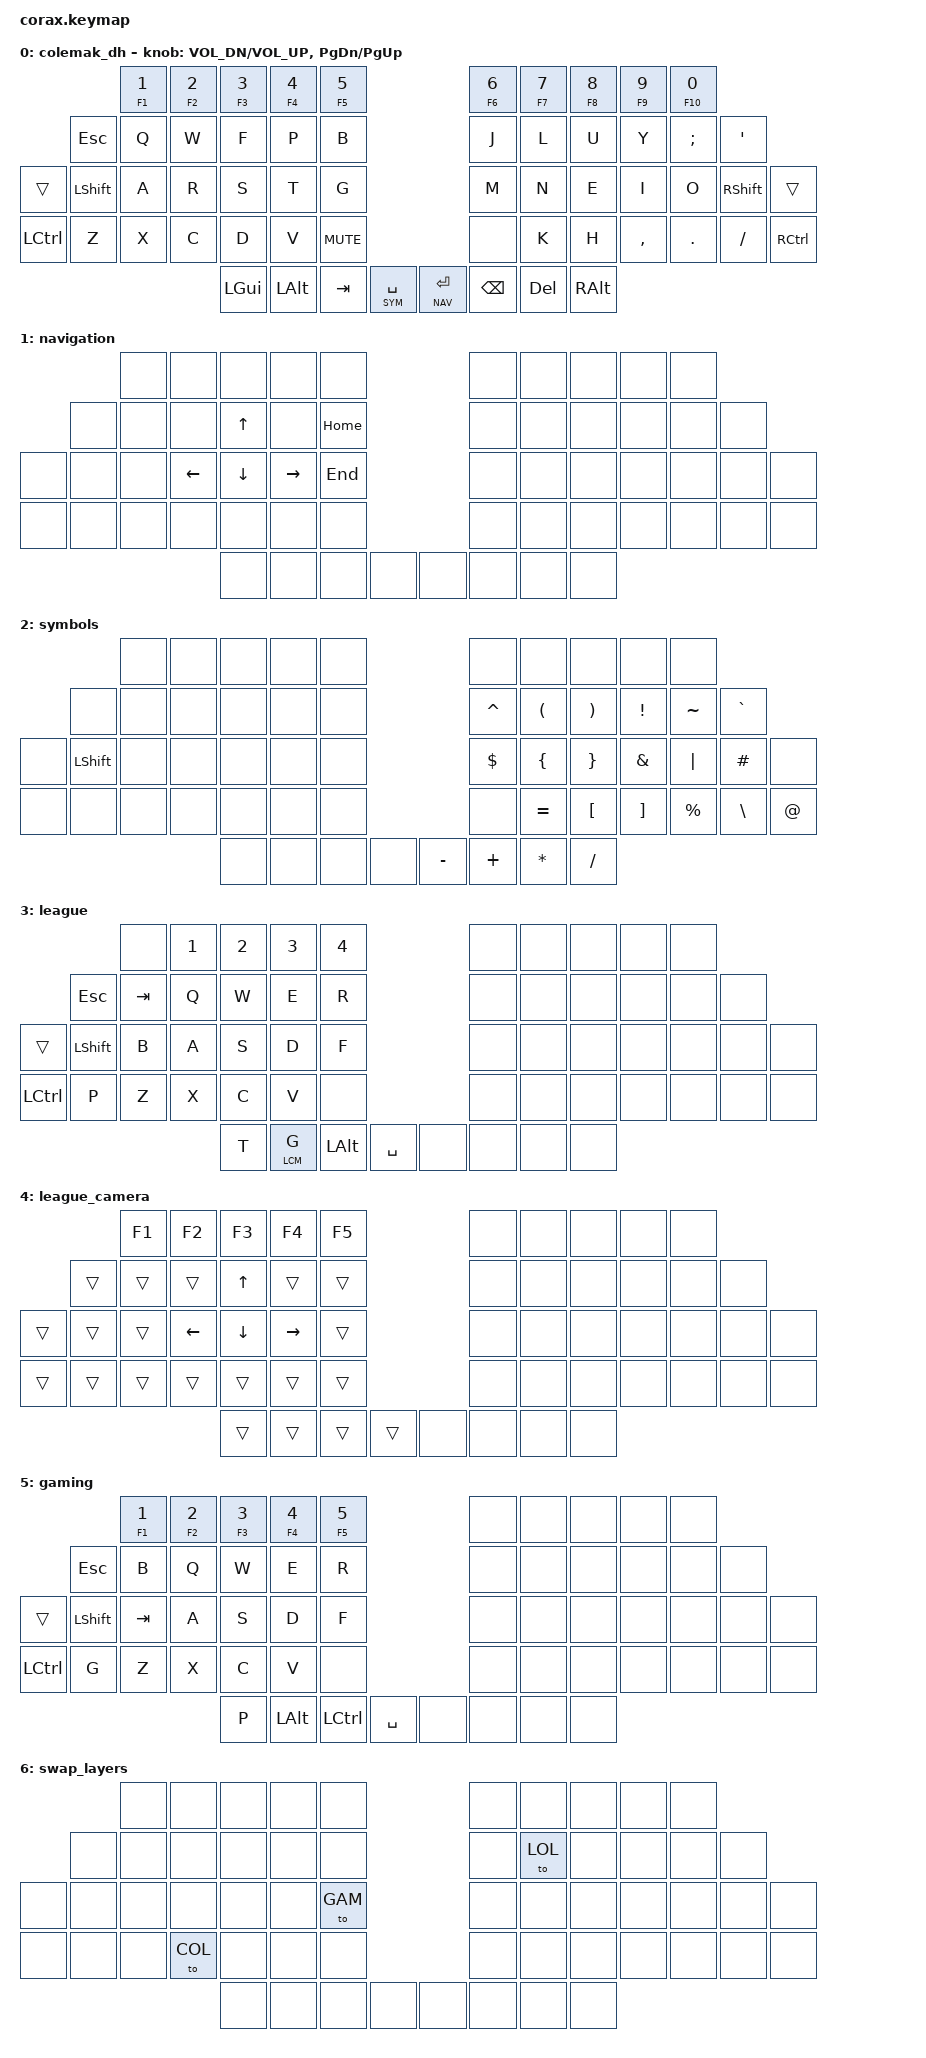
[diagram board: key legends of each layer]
#include <behaviors.dtsi>
#include <dt-bindings/zmk/keys.h>

#define COL 0
#define NAV 1
#define SYM 2
#define LOL 3
#define LCM 4
#define GAM 5
#define SWP 6

/ {
    behaviors {
        lp: layer_press {
            compatible = "zmk,behavior-hold-tap";
            #binding-cells = <2>;
            flavor = "balanced";
            tapping-term-ms = <200>;
            require-prior-idle-ms = <125>;
            // retro-tap;
            bindings = <&mo>, <&kp>;
        };

        mp: mod_press {
            compatible = "zmk,behavior-hold-tap";
            #binding-cells = <2>;
            flavor = "tap-preferred";
            tapping-term-ms = <200>;
            require-prior-idle-ms = <125>;
            bindings = <&kp>, <&kp>;
        };
    };

    combos {
        compatible = "zmk,combos";

        combo_swap {
            bindings = <&sl SWP>;
            // LCTRL+RCTRL
            key-positions = <36 49>;
        };
    };
    
    keymap {
        compatible = "zmk,keymap";

        colemak_dh {
            bindings = <
                    &mp F1 N1   &mp F2 N2    &mp F3 N3    &mp F4 N4   &mp F5 N5                                          &mp F6 N6      &mp F7 N7    &mp F8 N8      &mp F9 N9     &mp F10 N0
        &kp ESC     &kp Q       &kp W        &kp F        &kp P       &kp B                                              &kp J          &kp L        &kp U          &kp Y         &kp SEMI    &kp SQT
&trans  &kp LSHFT   &kp A       &kp R        &kp  S       &kp T       &kp G                                              &kp M          &kp N        &kp E          &kp I         &kp O       &kp RSHFT  &trans
        &kp LCTRL   &kp Z       &kp X        &kp C        &kp D       &kp V            &kp C_MUTE     &none              &kp K          &kp H        &kp COMMA      &kp DOT       &kp FSLH    &kp RCTRL
                                             &kp LGUI     &kp LALT    &kp TAB          &lp SYM SPACE  &lp NAV ENTER      &kp BACKSPACE  &kp DEL      &kp RIGHT_ALT
            >;

            sensor-bindings = <&inc_dec_kp C_VOL_DN C_VOL_UP &inc_dec_kp PG_DN PG_UP>;
        };

        navigation {
            bindings = <
                &none  &none    &none    &none     &none                     &none  &none   &none  &none  &none
        &none   &none  &none    &kp UP   &none     &kp HOME                  &none  &none   &none  &none  &none  &none
&none   &none   &none  &kp LEFT &kp DOWN &kp RIGHT &kp END                   &none  &none   &none  &none  &none  &none  &none
        &none   &none  &none    &none    &none     &none     &none    &none  &none  &none   &none  &none  &none  &none
                                &none    &none     &none     &none    &none  &none  &none   &none
            >;
        };

        symbols {
            bindings = <
                   &none   &none   &none   &none  &none                            &none        &none                 &none                  &none            &none
        &none      &none   &none   &none   &none  &none                            &kp CARET    &kp LEFT_PARENTHESIS  &kp RIGHT_PARENTHESIS  &kp EXCLAMATION  &kp TILDE      &kp GRAVE
&none   &kp LSHFT  &none   &none   &none   &none  &none                            &kp DOLLAR   &kp LEFT_BRACE        &kp RIGHT_BRACE        &kp AMPERSAND    &kp PIPE       &kp HASH     &none
        &none      &none   &none   &none   &none  &none       &none    &none       &kp EQUAL    &kp LEFT_BRACKET      &kp RIGHT_BRACKET      &kp PERCENT      &kp BACKSLASH  &kp AT_SIGN
                                   &none   &none  &none       &none    &kp MINUS   &kp PLUS     &kp STAR              &kp FSLH
            >;
        };

        league {
            bindings = <
                   &none    &kp N1  &kp N2      &kp N3     &kp N4                              &none  &none   &none  &none  &none
        &kp ESC    &kp TAB  &kp Q   &kp W       &kp E      &kp R                               &none  &none   &none  &none  &none  &none
&trans  &kp LSHFT  &kp B    &kp A   &kp S       &kp D      &kp F                               &none  &none   &none  &none  &none  &none  &none
        &kp LCTRL  &kp P    &kp Z   &kp X       &kp C      &kp V       &none          &none    &none  &none   &none  &none  &none  &none
                                    &kp T       &lp LCM G  &kp LALT    &kp SPACE      &none    &none  &none   &none
            >;
        };

        league_camera {
            bindings = <
                &kp F1  &kp F2    &kp F3    &kp F4     &kp F5                     &none  &none   &none  &none  &none
        &trans  &trans  &trans    &kp UP    &trans     &trans                     &none  &none   &none  &none  &none  &none
&trans  &trans  &trans  &kp LEFT  &kp DOWN  &kp RIGHT  &trans                     &none  &none   &none  &none  &none  &none  &none
        &trans  &trans  &trans    &trans    &trans     &trans  &trans    &none    &none  &none   &none  &none  &none  &none
                                  &trans    &trans     &trans  &trans    &none    &none  &none   &none
            >;
        };

        gaming {
            bindings = <
                   &mp F1 N1 &mp F2 N2 &mp F3 N3   &mp F4 N4  &mp F5 N5                           &none  &none   &none  &none  &none
        &kp ESC    &kp B     &kp Q     &kp W       &kp E      &kp R                               &none  &none   &none  &none  &none  &none
&trans  &kp LSHFT  &kp TAB   &kp A     &kp S       &kp D      &kp F                               &none  &none   &none  &none  &none  &none  &none
        &kp LCTRL  &kp G     &kp Z     &kp X       &kp C      &kp V       &none          &none    &none  &none   &none  &none  &none  &none
                                       &kp P       &kp LALT   &kp LCTRL   &kp SPACE      &none    &none  &none   &none
            >;
        };
        
        swap_layers {
            bindings = <
                &none  &none  &none   &none  &none                      &none  &none   &none  &none  &none
        &none   &none  &none  &none   &none  &none                      &none  &to LOL &none  &none  &none  &none
&none   &none   &none  &none  &none   &none  &to GAM                    &none  &none   &none  &none  &none  &none  &none
        &none   &none  &none  &to COL &none  &none    &none    &none    &none  &none   &none  &none  &none  &none
                              &none   &none  &none    &none    &none    &none  &none   &none
            >;
        };
    };
};
